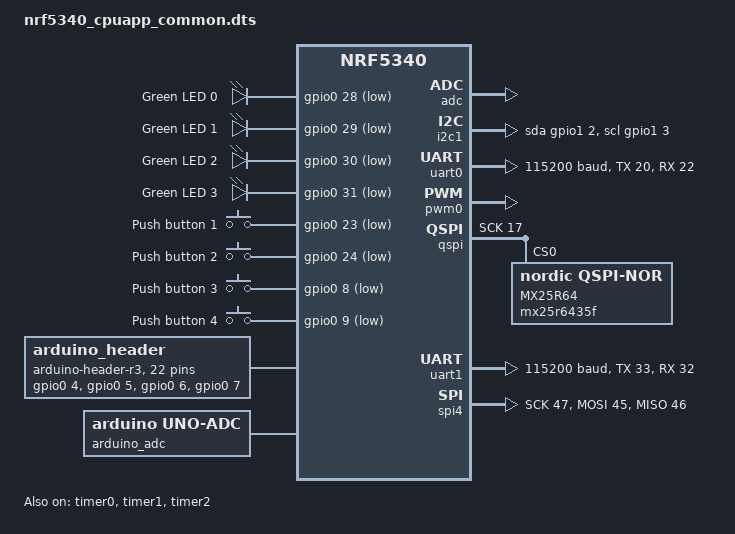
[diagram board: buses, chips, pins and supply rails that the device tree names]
/*
 * Copyright (c) 2019-2020 Nordic Semiconductor ASA
 *
 * SPDX-License-Identifier: Apache-2.0
 */

/ {

	chosen {
		zephyr,console = &uart0;
		zephyr,shell-uart = &uart0;
		zephyr,uart-mcumgr = &uart0;
		zephyr,bt-mon-uart = &uart0;
		zephyr,bt-c2h-uart = &uart0;
	};

	leds {
		compatible = "gpio-leds";
		led0: led_0 {
			gpios = <&gpio0 28 GPIO_ACTIVE_LOW>;
			label = "Green LED 0";
		};
		led1: led_1 {
			gpios = <&gpio0 29 GPIO_ACTIVE_LOW>;
			label = "Green LED 1";
		};
		led2: led_2 {
			gpios = <&gpio0 30 GPIO_ACTIVE_LOW>;
			label = "Green LED 2";
		};
		led3: led_3 {
			gpios = <&gpio0 31 GPIO_ACTIVE_LOW>;
			label = "Green LED 3";
		};
	};

	buttons {
		compatible = "gpio-keys";
		button0: button_0 {
			gpios = <&gpio0 23 (GPIO_PULL_UP | GPIO_ACTIVE_LOW)>;
			label = "Push button 1";
		};
		button1: button_1 {
			gpios = <&gpio0 24 (GPIO_PULL_UP | GPIO_ACTIVE_LOW)>;
			label = "Push button 2";
		};
		button2: button_2 {
			gpios = <&gpio0 8 (GPIO_PULL_UP | GPIO_ACTIVE_LOW)>;
			label = "Push button 3";
		};
		button3: button_3 {
			gpios = <&gpio0 9 (GPIO_PULL_UP | GPIO_ACTIVE_LOW)>;
			label = "Push button 4";
		};
	};

	arduino_header: connector {
		compatible = "arduino-header-r3";
		#gpio-cells = <2>;
		gpio-map-mask = <0xffffffff 0xffffffc0>;
		gpio-map-pass-thru = <0 0x3f>;
		gpio-map = <0 0 &gpio0 4 0>,	/* A0 */
			   <1 0 &gpio0 5 0>,	/* A1 */
			   <2 0 &gpio0 6 0>,	/* A2 */
			   <3 0 &gpio0 7 0>,	/* A3 */
			   <4 0 &gpio0 25 0>,	/* A4 */
			   <5 0 &gpio0 26 0>,	/* A5 */
			   <6 0 &gpio1 0 0>,	/* D0 */
			   <7 0 &gpio1 1 0>,	/* D1 */
			   <8 0 &gpio1 4 0>,	/* D2 */
			   <9 0 &gpio1 5 0>,	/* D3 */
			   <10 0 &gpio1 6 0>,	/* D4 */
			   <11 0 &gpio1 7 0>,	/* D5 */
			   <12 0 &gpio1 8 0>,	/* D6 */
			   <13 0 &gpio1 9 0>,	/* D7 */
			   <14 0 &gpio1 10 0>,	/* D8 */
			   <15 0 &gpio1 11 0>,	/* D9 */
			   <16 0 &gpio1 12 0>,	/* D10 */
			   <17 0 &gpio1 13 0>,	/* D11 */
			   <18 0 &gpio1 14 0>,	/* D12 */
			   <19 0 &gpio1 15 0>,	/* D13 */
			   <20 0 &gpio1 2 0>,	/* D14 */
			   <21 0 &gpio1 3 0>;	/* D15 */
	};

	arduino_adc: analog-connector {
		compatible = "arduino,uno-adc";
		#io-channel-cells = <1>;
		io-channel-map = <0 &adc 0>,	/* A0 = P0.4 = AIN0 */
				 <1 &adc 1>,	/* A1 = P0.5 = AIN1 */
				 <2 &adc 2>,	/* A2 = P0.6 = AIN2 */
				 <3 &adc 3>,	/* A3 = P0.7 = AIN3 */
				 <4 &adc 4>,	/* A4 = P0.25 = AIN4 */
				 <5 &adc 5>;	/* A5 = P0.26 = AIN5 */
	};

	/* These aliases are provided for compatibility with samples */
	aliases {
		led0 = &led0;
		led1 = &led1;
		led2 = &led2;
		led3 = &led3;
		sw0 = &button0;
		sw1 = &button1;
		sw2 = &button2;
		sw3 = &button3;
	};
};

&adc {
	status = "okay";
};

&gpiote {
	status = "okay";
};

&gpio0 {
	status = "okay";
};

&gpio1 {
	status = "okay";
};

&i2c1 {
	compatible = "nordic,nrf-twim";
	status = "okay";
	sda-gpios = <&gpio1 2 0>;
	scl-gpios = <&gpio1 3 0>;
};

&uart0 {
	status = "okay";
	current-speed = <115200>;
	tx-pin = <20>;
	rx-pin = <22>;
	rts-pin = <19>;
	cts-pin = <21>;
};

&pwm0 {
	status = "okay";
	ch0-pin = <28>;
};

&qspi {
	status = "okay";
	sck-pin = <17>;
	io-pins = <13>, <14>, <15>, <16>;
	csn-pins = <18>;
	mx25r64: mx25r6435f@0 {
		compatible = "nordic,qspi-nor";
		reg = <0>;
		/* MX24R64 supports only pp and pp4io */
		writeoc = "pp4io";
		/* MX24R64 supports all readoc options */
		readoc = "read4io";
		sck-frequency = <8000000>;
		label = "MX25R64";
		jedec-id = [c2 28 17];
		sfdp-bfp = [
			e5 20 f1 ff  ff ff ff 03  44 eb 08 6b  08 3b 04 bb
			ee ff ff ff  ff ff 00 ff  ff ff 00 ff  0c 20 0f 52
			10 d8 00 ff  23 72 f5 00  82 ed 04 cc  44 83 68 44
			30 b0 30 b0  f7 c4 d5 5c  00 be 29 ff  f0 d0 ff ff
		];
		size = <67108864>;
		has-dpd;
		t-enter-dpd = <10000>;
		t-exit-dpd = <35000>;
	};
};

&timer0 {
	status = "okay";
};

&timer1 {
	status = "okay";
};

&timer2 {
	status = "okay";
};

arduino_serial: &uart1 {
	compatible = "nordic,nrf-uarte";
	current-speed = <115200>;
	tx-pin = <33>;
	rx-pin = <32>;
};

arduino_i2c: &i2c1 {};

arduino_spi: &spi4 {
	compatible = "nordic,nrf-spim";
	sck-pin = <47>;
	miso-pin = <46>;
	mosi-pin = <45>;
	cs-gpios = <&arduino_header 16 GPIO_ACTIVE_LOW>; /* D10 */
};

&flash0 {

	partitions {
		compatible = "fixed-partitions";
		#address-cells = <1>;
		#size-cells = <1>;

		boot_partition: partition@0 {
			label = "mcuboot";
			reg = <0x00000000 0x00010000>;
		};
		slot0_partition: partition@10000 {
			label = "image-0";
		};
		slot0_ns_partition: partition@50000 {
			label = "image-0-nonsecure";
		};
		slot1_partition: partition@80000 {
			label = "image-1";
		};
		slot1_ns_partition: partition@c0000 {
			label = "image-1-nonsecure";
		};
		scratch_partition: partition@f0000 {
			label = "image-scratch";
			reg = <0x000f0000 0xa000>;
		};
		storage_partition: partition@fa000 {
			label = "storage";
			reg = <0x000fa000 0x00006000>;
		};
	};
};

/ {

	reserved-memory {
		#address-cells = <1>;
		#size-cells = <1>;
		ranges;

		sram0_image: image@20000000 {
			/* Zephyr image(s) memory */
		};

		sram0_s: image_s@20000000 {
			/* Secure image memory */
		};

		sram0_ns: image_ns@20040000 {
			/* Non-Secure image memory */
		};
	};
};

/* Include partition configuration file */
#include "nrf5340_cpuapp_partition_conf.dts"
